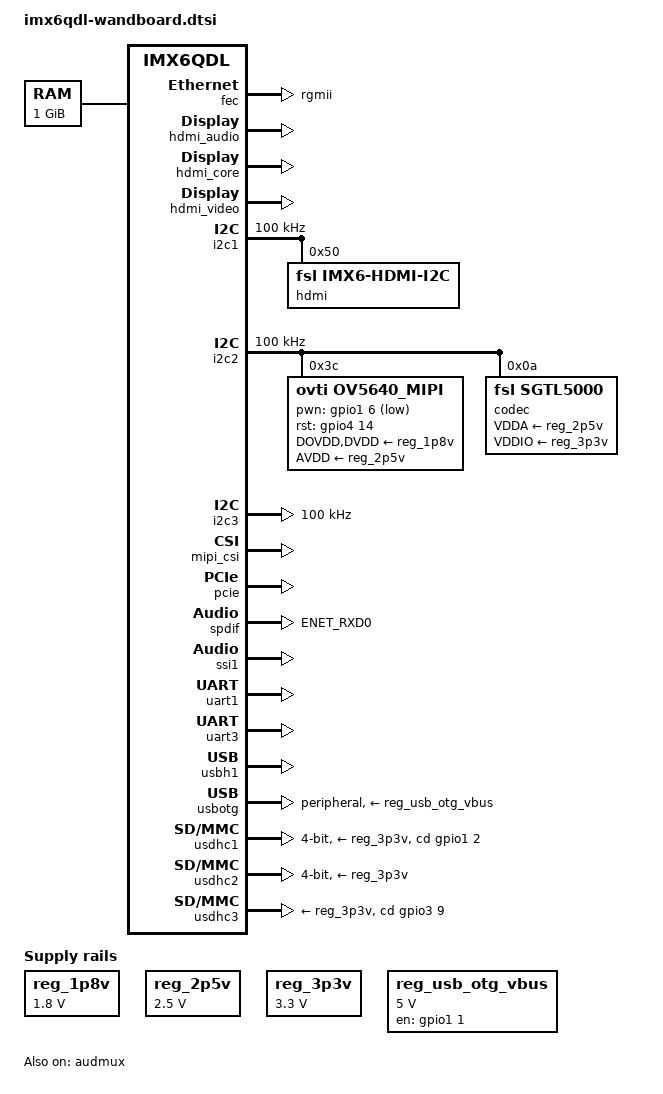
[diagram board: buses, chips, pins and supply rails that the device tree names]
/*
 * Copyright 2014 John Weber, Avnet Electronics Marketing
 * Copyright 2013 Boundary Devices
 * Copyright 2012 Freescale Semiconductor, Inc.
 * Copyright 2011 Linaro Ltd.
 *
 * The code contained herein is licensed under the GNU General Public
 * License. You may obtain a copy of the GNU General Public License
 * Version 2 or later at the following locations:
 *
 * http://www.opensource.org/licenses/gpl-license.html
 * http://www.gnu.org/copyleft/gpl.html
 */

/ {
	aliases {
		mxcfb0 = &mxcfb1;
		mxcfb1 = &mxcfb2;
		mxcfb2 = &mxcfb3;
		mxcfb3 = &mxcfb4;
	};

	memory {
		reg = <0x10000000 0x40000000>;
	};

	regulators {
		compatible = "simple-bus";

		reg_1p8v: 1p8v {
			compatible = "regulator-fixed";
			regulator-name = "1P8V";
			regulator-min-microvolt = <1800000>;
			regulator-max-microvolt = <1800000>;
			regulator-always-on;
		};

		reg_2p5v: 2p5v {
			compatible = "regulator-fixed";
			regulator-name = "2P5V";
			regulator-min-microvolt = <2500000>;
			regulator-max-microvolt = <2500000>;
			regulator-always-on;
		};

		reg_3p3v: 3p3v {
			compatible = "regulator-fixed";
			regulator-name = "3P3V";
			regulator-min-microvolt = <3300000>;
			regulator-max-microvolt = <3300000>;
			regulator-always-on;
		};

		reg_usb_otg_vbus: usb_otg_vbus {
			compatible = "regulator-fixed";
			regulator-name = "usb_otg_vbus";
			regulator-min-microvolt = <5000000>;
			regulator-max-microvolt = <5000000>;
			gpio = <&gpio1 1 GPIO_ACTIVE_LOW>;
			enable-active-high;
		};
	};

	sound {
		compatible = "fsl,imx6-wandboard-sgtl5000", 
                             "fsl,imx-audio-sgtl5000";
		model = "imx6-wandboard-sgtl5000";
		ssi-controller = <&ssi1>;
		audio-codec = <&codec>;
		audio-routing =
			"MIC_IN", "Mic Jack",
			"Mic Jack", "Mic Bias",
			"Headphone Jack", "HP_OUT";
		mux-int-port = <1>;
		mux-ext-port = <3>;
	};

        sound-spdif {
                compatible = "fsl,imx-audio-spdif";
                model = "imx-spdif";
                spdif-controller = <&spdif>;
                spdif-out;
        };

	sound-hdmi {
		compatible = "fsl,imx6q-audio-hdmi",
			     "fsl,imx-audio-hdmi";
		model = "imx-audio-hdmi";
		hdmi-controller = <&hdmi_audio>;
	};

        rfkill {
                compatible = "wand,imx6qdl-wandboard-rfkill";
                pinctrl-names = "default";
                pinctrl-0 = <>;

                bluetooth-on = <&gpio3 13 0>;
                bluetooth-wake = <&gpio3 14 0>;
                bluetooth-host-wake = <&gpio3 15 0>;

                wifi-ref-on = <&gpio2 29 0>;
                wifi-rst-n = <&gpio5 2 0>;
                wifi-reg-on = <&gpio1 26 0>;
                wifi-host-wake = <&gpio1 29 0>;
                wifi-wake = <&gpio1 30 0>;
        };

	mxcfb1: fb@0 {
		compatible = "fsl,mxc_sdc_fb";
		disp_dev = "hdmi";
		interface_pix_fmt = "RGB24";
		mode_str ="1920x1080M@60";
		default_bpp = <24>;
		int_clk = <0>;
		late_init = <0>;
		status = "disabled";
	};

        mxcfb2: fb@1 {
                compatible = "fsl,mxc_sdc_fb";
                disp_dev = "ldb";
                interface_pix_fmt = "RGB666";
                mode_str ="LDB-XGA";
                default_bpp = <16>;
                int_clk = <0>;
                late_init = <0>;
                status = "disabled";
        };

	mxcfb3: fb@2 {
		compatible = "fsl,mxc_sdc_fb";
		disp_dev = "lcd";
		interface_pix_fmt = "RGB565";
		mode_str ="CLAA-WVGA";
		default_bpp = <16>;
		int_clk = <0>;
		late_init = <0>;
		status = "disabled";
	};

	mxcfb4: fb@3 {
		compatible = "fsl,mxc_sdc_fb";
		disp_dev = "ldb";
		interface_pix_fmt = "RGB666";
		mode_str ="LDB-XGA";
		default_bpp = <16>;
		int_clk = <0>;
		late_init = <0>;
		status = "disabled";
	};
#if 0
	lcd@0 {
		compatible = "fsl,lcd";
		ipu_id = <0>;
		disp_id = <0>;
		default_ifmt = "RGB565";
		pinctrl-names = "default";
		pinctrl-0 = <&pinctrl_ipu1_4>;
#if 0
		status = "okay";
#endif
	};

	backlight_lcd {
		compatible = "pwm-backlight";
		pwms = <&pwm1 0 5000000>;
		brightness-levels = <0 4 8 16 32 64 128 255>;
		default-brightness-level = <7>;
	};

	backlight_lvds {
		compatible = "pwm-backlight";
		pwms = <&pwm4 0 5000000>;
		brightness-levels = <0 4 8 16 32 64 128 255>;
		default-brightness-level = <7>;
	};
#endif
	v4l2_cap_0 {
		compatible = "fsl,imx6q-v4l2-capture";
		ipu_id = <0>;
		csi_id = <0>;
		mclk_source = <0>;
		status = "okay";
	};

	v4l2_out {
		compatible = "fsl,mxc_v4l2_output";
		status = "okay";
	};

};


&audmux {
	pinctrl-names = "default";
	pinctrl-0 = <&pinctrl_audmux_2>;
	status = "okay";
};


&fec {
	pinctrl-names = "default";
	pinctrl-0 = <&pinctrl_enet_3>;
	phy-mode = "rgmii";
	status = "okay";
};

&hdmi_audio {
	status = "okay";
};

&hdmi_core {
	ipu_id = <0>;
	disp_id = <0>;
	status = "okay";
};

&hdmi_video {
	fsl,phy_reg_vlev = <0x0294>;
	fsl,phy_reg_cksymtx = <0x800d>;
	status = "okay";
};

&i2c1 {
	clock-frequency = <100000>;
	pinctrl-names = "default";
	pinctrl-0 = <&pinctrl_i2c1_1>;
	status = "okay";

	hdmi: edid@50 {
		compatible = "fsl,imx6-hdmi-i2c";
		reg = <0x50>;
	};

};

&i2c2 {
	clock-frequency = <100000>;
	pinctrl-names = "default";
	pinctrl-0 = <&pinctrl_i2c2_2>;
	status = "okay";

	ov5640_mipi: ov5640_mipi@3c {
		compatible = "ovti,ov5640_mipi";
		reg = <0x3c>;
		clocks = <&clks 200>;
		clock-names = "csi_mclk";
		DOVDD-supply = <&reg_1p8v>;
		AVDD-supply = <&reg_2p5v>;
		DVDD-supply = <&reg_1p8v>;
		pwn-gpios = <&gpio1 6 1>;
		rst-gpios = <&gpio4 14 0>;
		ipu_id = <0>;
		csi_id = <0>;
		mclk = <24000000>;
		mclk_source = <0>;
	};

	codec: sgtl5000@0a {
		compatible = "fsl,sgtl5000";
		reg = <0x0a>;
		clocks = <&clks 201>;
		VDDA-supply = <&reg_2p5v>;
		VDDIO-supply = <&reg_3p3v>;
	};
};

&i2c3 {
        clock-frequency = <100000>;
        pinctrl-names = "default";
        pinctrl-0 = <&pinctrl_i2c3_3>;
        status = "okay";
};

/*
For reference here, the PAD_CTL bitfield definition from
Documentation/devicetree/bindings/pinctrl/fsl,imx6q-pinctrl.txt

CONFIG bits definition:
PAD_CTL_HYS                     (1 << 16)
PAD_CTL_PUS_100K_DOWN           (0 << 14)
PAD_CTL_PUS_47K_UP              (1 << 14)
PAD_CTL_PUS_100K_UP             (2 << 14)
PAD_CTL_PUS_22K_UP              (3 << 14)
PAD_CTL_PUE                     (1 << 13)
PAD_CTL_PKE                     (1 << 12)
PAD_CTL_ODE                     (1 << 11)
PAD_CTL_SPEED_LOW               (1 << 6)
PAD_CTL_SPEED_MED               (2 << 6)
PAD_CTL_SPEED_HIGH              (3 << 6)
PAD_CTL_DSE_DISABLE             (0 << 3)
PAD_CTL_DSE_240ohm              (1 << 3)
PAD_CTL_DSE_120ohm              (2 << 3)
PAD_CTL_DSE_80ohm               (3 << 3)
PAD_CTL_DSE_60ohm               (4 << 3)
PAD_CTL_DSE_48ohm               (5 << 3)
PAD_CTL_DSE_40ohm               (6 << 3)
PAD_CTL_DSE_34ohm               (7 << 3)
PAD_CTL_SRE_FAST                (1 << 0)
PAD_CTL_SRE_SLOW                (0 << 0)

Example, the Control Pad Setting

    0x0f0b0

corresponds to:

   0b1111000010110000

which is:

   PAD_CTL_PUS_22K_UP | PAD_CTL_PUE | PAD_CTL_PKE |
   PAD_CTL_SPEED_MED | PAD_CTL_DSE_40ohm

For more information about this, refer to the IOMUXC section of the i.MX6
reference manual.

*/

&iomuxc {
	pinctrl-names = "default";
	pinctrl-0 = <&pinctrl_hog_1>;

	imx6qdl-wandboard {
		pinctrl_hog_1: hoggrp-1 {
			fsl,pins = <
				MX6QDL_PAD_GPIO_0__CCM_CLKO1     	0x130b0
				MX6QDL_PAD_EIM_D22__GPIO3_IO22		0x80000000	/* USB Power Enable */
				MX6QDL_PAD_GPIO_2__GPIO1_IO02		0x80000000	/* USDHC1 CD */
				MX6QDL_PAD_EIM_DA9__GPIO3_IO09		0x80000000	/* uSDHC3 CD */
				MX6QDL_PAD_GPIO_0__CCM_CLKO1		0x000b0		/* SGTL5000 sys_mclk */
				MX6QDL_PAD_GPIO_6__GPIO1_IO06		0x0b0b0		/* ov5640 mipi powerdown */
				MX6QDL_PAD_KEY_COL4__GPIO4_IO14		0x000b0		/* ov5640 mipi reset */
				MX6QDL_PAD_GPIO_3__CCM_CLKO2		0x000b0		/* ov5640 mclk */
				MX6QDL_PAD_EIM_A25__GPIO5_IO02		0x0f0b0		/* WIFI_ON (reset, active low) */
				MX6QDL_PAD_ENET_RXD1__GPIO1_IO26	0x000b0		/* WL_REG_ON (unused) */
				MX6QDL_PAD_ENET_TXD1__GPIO1_IO29	0x80000000	/* WL_HOST_WAKE, input */
				MX6QDL_PAD_EIM_EB1__GPIO2_IO29		0x0f0b0		/* EIM_EB1 (Wifi Power Enable) */
				MX6QDL_PAD_ENET_TXD0__GPIO1_IO30	0x80000000	/* WL_WAKE (unused) */
                                MX6QDL_PAD_EIM_D29__GPIO3_IO29   	0x80000000
                                MX6QDL_PAD_EIM_DA13__GPIO3_IO13  	0x80000000 	/* BT_ON */
                                MX6QDL_PAD_EIM_DA14__GPIO3_IO14  	0x80000000 	/* BT_WAKE */
                                MX6QDL_PAD_EIM_DA15__GPIO3_IO15  	0x80000000 	/* BT_HOST_WAKE */
			>;
		};

	        pinctrl_spdif_wand: spdifgrp {
	                fsl,pins = <
				MX6QDL_PAD_ENET_RXD0__SPDIF_OUT                 0x1b0b0
			>;
	        };
	};
	gpio {
		pinctrl_gpio: gpiogrp {
			fsl,pins = <
                                MX6QDL_PAD_EIM_DA12__GPIO3_IO12   0x80000000 /* GPIO3_12 EDM pin 255 */
                                MX6QDL_PAD_EIM_DA11__GPIO3_IO11   0x80000000 /* GPIO3_11 EDM pin 256 */
                                MX6QDL_PAD_EIM_DA10__GPIO3_IO10   0x80000000 /* GPIO3_10 EDM pin 257 */
                                MX6QDL_PAD_EIM_D27__GPIO3_IO27    0x80000000 /* GPIO3_27 EDM pin 258 */
                                MX6QDL_PAD_EIM_D26__GPIO3_IO26    0x80000000 /* GPIO3_26 EDM pin 259 */
                                MX6QDL_PAD_EIM_BCLK__GPIO6_IO31   0x80000000 /* GPIO6_31 EDM pin 260 */
                                MX6QDL_PAD_EIM_DA8__GPIO3_IO08    0x80000000 /* GPIO3_8  EDM pin 261 */
                                MX6QDL_PAD_ENET_RX_ER__GPIO1_IO24 0x80000000 /* GPIO1_24 EDM pin 262 */
                                MX6QDL_PAD_GPIO_19__GPIO4_IO05    0x80000000 /* GPIO4_5  EDM pin 263 */
                                MX6QDL_PAD_SD3_RST__GPIO7_IO08    0x80000000 /* GPIO7_8  EDM pin 264 */
			>;
		};
	};
};


#if 0
&ldb {
	ipu_id = <0>;
	disp_id = <1>;
	ext_ref = <1>;
	mode = "sin0";
	sec_ipu_id = <1>;
	sec_disp_id = <1>;
	status = "okay";
};
#endif

&mipi_csi {
	ipu_id = <0>;
	csi_id = <0>;
	v_channel = <0>;
	lanes = <2>;
	status = "okay";
};

&pcie {
	status = "okay";
};

#if 0
&pwm1 {
	pinctrl-names = "default";
	pinctrl-0 = <&pinctrl_pwm1_1>;
	status = "okay";
};

&pwm3 {
	pinctrl-names = "default";
	pinctrl-0 = <&pinctrl_pwm3_2>;
	status = "okay";
};

&pwm4 {
	pinctrl-names = "default";
	pinctrl-0 = <&pinctrl_pwm4_2>;
	status = "okay";
};
#endif

&spdif {
        pinctrl-names = "default";
        pinctrl-0 = <&pinctrl_spdif_wand>;
        status = "okay";
};

&ssi1 {
	fsl,mode = "i2s-slave";
	status = "okay";
};

&uart1 {
	pinctrl-names = "default";
	pinctrl-0 = <&pinctrl_uart1_1>;
	status = "okay";
};

&uart3 {
        pinctrl-names = "default";
        pinctrl-0 = <&pinctrl_uart3_2>;
        fsl,uart-has-rtscts;
        status = "okay";
};

&usbh1 {
	status = "okay";
};

&usbotg {
	vbus-supply = <&reg_usb_otg_vbus>;
	pinctrl-names = "default";
	pinctrl-0 = <&pinctrl_usbotg_1>;
	disable-over-current;
	dr_mode = "peripheral";
	status = "okay";
};

&usdhc1 {  /* Baseboard microSD slot */
	pinctrl-names = "default";
	pinctrl-0 = <&pinctrl_usdhc1_1>;
	bus-width = <4>;
	vmmc-supply = <&reg_3p3v>;
	cd-gpios = <&gpio1 2 0>;
	status = "okay";
};

&usdhc2 {  /* Broadcom Wifi/BT  */
	pinctrl-names = "default";
	pinctrl-0 = <&pinctrl_usdhc2_2>;
	bus-width = <4>;
	//non-removable;
	vmmc-supply = <&reg_3p3v>;
	keep-power-in-suspend;
	status = "okay";
};

&usdhc3 { /* Module microSD slot */
	pinctrl-names = "default";
	pinctrl-0 = <&pinctrl_usdhc3_2>;
	vmmc-supply = <&reg_3p3v>;
        cd-gpios = <&gpio3 9 0>;
	status = "okay";
};

